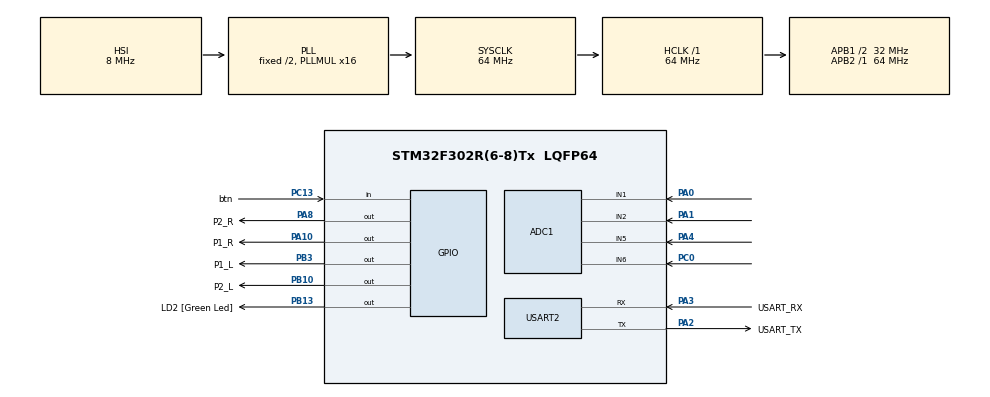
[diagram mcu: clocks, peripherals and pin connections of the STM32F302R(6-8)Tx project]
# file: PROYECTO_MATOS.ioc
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ADC1.Channel-0\#ChannelRegularConversion=ADC_CHANNEL_1
ADC1.Channel-1\#ChannelRegularConversion=ADC_CHANNEL_2
ADC1.Channel-2\#ChannelRegularConversion=ADC_CHANNEL_5
ADC1.Channel-3\#ChannelRegularConversion=ADC_CHANNEL_6
ADC1.ContinuousConvMode=ENABLE
ADC1.DMAContinuousRequests=ENABLE
ADC1.NbrOfConversion=4
ADC1.NbrOfConversionFlag=1
ADC1.Offset-0\#ChannelRegularConversion=0
ADC1.Offset-1\#ChannelRegularConversion=0
ADC1.Offset-2\#ChannelRegularConversion=0
ADC1.Offset-3\#ChannelRegularConversion=0
ADC1.OffsetNumber-0\#ChannelRegularConversion=ADC_OFFSET_NONE
ADC1.OffsetNumber-1\#ChannelRegularConversion=ADC_OFFSET_NONE
ADC1.OffsetNumber-2\#ChannelRegularConversion=ADC_OFFSET_NONE
ADC1.OffsetNumber-3\#ChannelRegularConversion=ADC_OFFSET_NONE
ADC1.Rank-0\#ChannelRegularConversion=1
ADC1.Rank-1\#ChannelRegularConversion=2
ADC1.Rank-2\#ChannelRegularConversion=3
ADC1.Rank-3\#ChannelRegularConversion=4
ADC1.SamplingTime-0\#ChannelRegularConversion=ADC_SAMPLETIME_601CYCLES_5
ADC1.SamplingTime-1\#ChannelRegularConversion=ADC_SAMPLETIME_601CYCLES_5
ADC1.SamplingTime-2\#ChannelRegularConversion=ADC_SAMPLETIME_601CYCLES_5
ADC1.SamplingTime-3\#ChannelRegularConversion=ADC_SAMPLETIME_601CYCLES_5
ADC1.SubFamily=STM32F302x8
ADC1.master=1
Dma.ADC1.0.Direction=DMA_PERIPH_TO_MEMORY
Dma.ADC1.0.Instance=DMA1_Channel1
Dma.ADC1.0.MemDataAlignment=DMA_MDATAALIGN_WORD
Dma.ADC1.0.MemInc=DMA_MINC_ENABLE
Dma.ADC1.0.Mode=DMA_CIRCULAR
Dma.ADC1.0.PeriphDataAlignment=DMA_PDATAALIGN_WORD
Dma.ADC1.0.PeriphInc=DMA_PINC_DISABLE
Dma.ADC1.0.Priority=DMA_PRIORITY_LOW
Dma.Request0=ADC1
Mcu.Family=STM32F3
Mcu.Name=STM32F302R(6-8)Tx
Mcu.Package=LQFP64
NVIC.DMA1_Channel1_IRQn=true\:0\:0\:false\:false\:true\:false\:true\:true
NVIC.PriorityGroup=NVIC_PRIORITYGROUP_0
PA0.Mode=IN1-Single-Ended
PA0.Signal=ADC1_IN1
PA1.Mode=IN2-Single-Ended
PA1.Signal=ADC1_IN2
PA10.GPIO_Label=P1_R
PA10.Signal=GPIO_Output
PA13.GPIO_Label=TMS
PA13.Mode=Serial_Wire
PA13.Signal=SYS_JTMS-SWDIO
PA14.GPIO_Label=TCK
PA14.Mode=Serial_Wire
PA14.Signal=SYS_JTCK-SWCLK
PA2.GPIO_Label=USART_TX
PA2.GPIO_Mode=GPIO_MODE_AF_PP
PA2.GPIO_PuPd=GPIO_NOPULL
PA2.GPIO_Speed=GPIO_SPEED_FREQ_LOW
PA2.Mode=Asynchronous
PA2.Signal=USART2_TX
PA3.GPIO_Label=USART_RX
PA3.GPIO_Mode=GPIO_MODE_AF_PP
PA3.GPIO_PuPd=GPIO_NOPULL
PA3.GPIO_Speed=GPIO_SPEED_FREQ_LOW
PA3.Mode=Asynchronous
PA3.Signal=USART2_RX
PA4.Mode=IN5-Single-Ended
PA4.Signal=ADC1_IN5
PA8.GPIO_Label=P2_R
PA8.Signal=GPIO_Output
PB10.GPIO_Label=P2_L
PB10.Signal=GPIO_Output
PB13.GPIO_Label=LD2 [Green Led]
PB13.Signal=GPIO_Output
PB3.GPIO_Label=P1_L
PB3.Signal=GPIO_Output
PC0.Signal=ADCx_IN6
PC13.GPIO_Label=btn
PC13.Signal=GPIO_Input
PC14\ -\ OSC32_IN.Mode=LSE-External-Oscillator
PC14\ -\ OSC32_IN.Signal=RCC_OSC32_IN
PC15\ -\ OSC32_OUT.Mode=LSE-External-Oscillator
PC15\ -\ OSC32_OUT.Signal=RCC_OSC32_OUT
PF0-OSC_IN.Mode=HSE-External-Clock-Source
PF0-OSC_IN.Signal=RCC_OSC_IN
PF1-OSC_OUT.Signal=RCC_OSC_OUT
ProjectManager.HeapSize=0x200
ProjectManager.StackSize=0x400
ProjectManager.TargetToolchain=STM32CubeIDE
RCC.AHBFreq_Value=64000000
RCC.APB1CLKDivider=RCC_HCLK_DIV2
RCC.APB1Freq_Value=32000000
RCC.APB1TimFreq_Value=64000000
RCC.APB2Freq_Value=64000000
RCC.APB2TimFreq_Value=64000000
RCC.CortexFreq_Value=64000000
RCC.HCLKFreq_Value=64000000
RCC.HSE_VALUE=8000000
RCC.HSI_VALUE=8000000
RCC.PLLM=8
RCC.PLLMUL=RCC_PLL_MUL16
RCC.PLLN=336
RCC.PLLP=RCC_PLLP_DIV4
RCC.PLLQ=7
RCC.RCC_PLLsource_Clock_Source_FROM_HSE=RCC_HSE_PREDIV_DIV2
RCC.SYSCLKFreq_VALUE=64000000
RCC.SYSCLKSourceVirtual=RCC_SYSCLKSOURCE_PLLCLK
RCC.USBFreq_Value=64000000
SH.ADCx_IN6.0=ADC1_IN6,IN6-Single-Ended
USART2.VirtualMode-Asynchronous=VM_ASYNC
board=NUCLEO-F302R8

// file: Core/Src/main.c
/* USER CODE BEGIN Header */
/**
  ******************************************************************************
  * @file           : main.c
  * @brief          : Main program body
  ******************************************************************************
  * @attention
  *
  * Copyright (c) 2024 STMicroelectronics.
  * All rights reserved.
  *
  * This software is licensed under terms that can be found in the LICENSE file
  * in the root directory of this software component.
  * If no LICENSE file comes with this software, it is provided AS-IS.
  *
  ******************************************************************************
  */
/* USER CODE END Header */
#include "main.h"

/* USER CODE BEGIN PD */
#define voltaje 5
/* USER CODE END PD */

ADC_HandleTypeDef hadc1;
DMA_HandleTypeDef hdma_adc1;

UART_HandleTypeDef huart2;

void SystemClock_Config(void);
static void MX_GPIO_Init(void);
static void MX_DMA_Init(void);
static void MX_USART2_UART_Init(void);
static void MX_ADC1_Init(void);

/* USER CODE BEGIN 0 */
// VARIABLES DEL SISTEMA
uint32_t medida[4];
int count =0;
float Volt =0.00;
float Volt2=0.00;
float Volt3=0.00;
float Volt4=0.00;
int arriba =0;

//MEDICION DE VOLTAJES LDR O DIVISORES

void medicion_movimiento_sistema(){
	Volt =(medida[0]/4096.0)*voltaje;
	Volt2 =(medida[1]/4096.0)*voltaje;
	Volt3 =(medida[2]/4096.0)*voltaje;
	Volt4 =(medida[3]/4096.0)*voltaje;

	if (Volt >= 1.0 && Volt <= 3.0 ){
		X_derecha();
		arriba=1;
	}
	else if(Volt2>=1.0 && Volt2<=3.0){
		X1_izquierda();
		arriba=2;
	}
	else if(Volt3>=1.0 && Volt3<=3.0){
			Y_derecha();
			arriba=3;
		}
	else if(Volt4>=1.0 && Volt4<=3.0){
				Y1_izquierda();
				arriba=4;
			}
	else{
		arriba=0;
		stop();
	}
}
//SETEO INICIAL DEL SISTEMA
void seteo_sistem(){
	    X_derecha();
		HAL_Delay(30000);
		stop();
		X1_izquierda();
		HAL_Delay(9000);
		stop();

		Y_derecha();
		HAL_Delay(30000);
		stop();
		Y1_izquierda();
		HAL_Delay(9000);
		stop();
}
// FUNCION PARA EL MOV EJE X
void X_derecha(){
	HAL_GPIO_WritePin(P1_R_GPIO_Port, P1_R_Pin, 1);
}
void X1_izquierda(){
	HAL_GPIO_WritePin(P1_L_GPIO_Port, P1_L_Pin, 1);
}
//FUNCION MOV EJE Y
void Y_derecha()
{
	HAL_GPIO_WritePin(P2_R_GPIO_Port, P2_R_Pin, 1);
}
void Y1_izquierda()
{
	HAL_GPIO_WritePin(P2_L_GPIO_Port, P2_L_Pin, 1);
}
//FUNCION DE PARADA DE LOS EJES
void stop(){
	HAL_GPIO_WritePin(P1_R_GPIO_Port, P1_R_Pin, 0);
	HAL_GPIO_WritePin(P1_L_GPIO_Port, P1_L_Pin, 0);
	HAL_GPIO_WritePin(P2_R_GPIO_Port, P2_R_Pin, 0);
	HAL_GPIO_WritePin(P2_L_GPIO_Port, P2_L_Pin, 0);
}

//FUNCION GENERAL PARA PRUEBAS
void mov(){

	  if(!HAL_GPIO_ReadPin(btn_GPIO_Port, btn_Pin)){
		  count++;
		  HAL_Delay(600);
	  }

	  if(count>=5){
		  count=0;
	  }

	  if (count == 1){
		  X_derecha();

	  }
	  else if(count == 2){
		  Y_derecha();

	  }else if(count == 3){
		  X1_izquierda();
	  }
	  else if(count ==4){
		  Y1_izquierda();
	  }
	  else if(count ==5){
		  stop();
	  }
}

/* USER CODE END 0 */

int main(void)
{

  /* MCU Configuration--------------------------------------------------------*/

  /* Reset of all peripherals, Initializes the Flash interface and the Systick. */
  HAL_Init();

  /* Configure the system clock */
  SystemClock_Config();

  /* Initialize all configured peripherals */
  MX_GPIO_Init();
  MX_DMA_Init();
  MX_USART2_UART_Init();
  MX_ADC1_Init();
  /* USER CODE BEGIN 2 */

	HAL_ADC_Start_DMA(&hadc1, &medida, 4);
//	seteo_sistem();

  /* USER CODE END 2 */

  /* Infinite loop */
  /* USER CODE BEGIN WHILE */
  while (1)
  {
	  medicion_movimiento_sistema();
//	  mov();
    /* USER CODE END WHILE */

  }
}

void SystemClock_Config(void)
{
  RCC_OscInitTypeDef RCC_OscInitStruct = {0};
  RCC_ClkInitTypeDef RCC_ClkInitStruct = {0};
  RCC_PeriphCLKInitTypeDef PeriphClkInit = {0};

  /** Initializes the RCC Oscillators according to the specified parameters
  * in the RCC_OscInitTypeDef structure.
  */
  RCC_OscInitStruct.OscillatorType = RCC_OSCILLATORTYPE_HSI;
  RCC_OscInitStruct.HSIState = RCC_HSI_ON;
  RCC_OscInitStruct.HSICalibrationValue = RCC_HSICALIBRATION_DEFAULT;
  RCC_OscInitStruct.PLL.PLLState = RCC_PLL_ON;
  RCC_OscInitStruct.PLL.PLLSource = RCC_PLLSOURCE_HSI;
  RCC_OscInitStruct.PLL.PLLMUL = RCC_PLL_MUL16;
  if (HAL_RCC_OscConfig(&RCC_OscInitStruct) != HAL_OK)
  {
    Error_Handler();
  }

  /** Initializes the CPU, AHB and APB buses clocks
  */
  RCC_ClkInitStruct.ClockType = RCC_CLOCKTYPE_HCLK|RCC_CLOCKTYPE_SYSCLK
                              |RCC_CLOCKTYPE_PCLK1|RCC_CLOCKTYPE_PCLK2;
  RCC_ClkInitStruct.SYSCLKSource = RCC_SYSCLKSOURCE_PLLCLK;
  RCC_ClkInitStruct.AHBCLKDivider = RCC_SYSCLK_DIV1;
  RCC_ClkInitStruct.APB1CLKDivider = RCC_HCLK_DIV2;
  RCC_ClkInitStruct.APB2CLKDivider = RCC_HCLK_DIV1;

  if (HAL_RCC_ClockConfig(&RCC_ClkInitStruct, FLASH_LATENCY_2) != HAL_OK)
  {
    Error_Handler();
  }
  PeriphClkInit.PeriphClockSelection = RCC_PERIPHCLK_ADC1;
  PeriphClkInit.Adc1ClockSelection = RCC_ADC1PLLCLK_DIV1;

  if (HAL_RCCEx_PeriphCLKConfig(&PeriphClkInit) != HAL_OK)
  {
    Error_Handler();
  }
}

static void MX_ADC1_Init(void)
{

  ADC_ChannelConfTypeDef sConfig = {0};

  /** Common config
  */
  hadc1.Instance = ADC1;
  hadc1.Init.ClockPrescaler = ADC_CLOCK_ASYNC_DIV1;
  hadc1.Init.Resolution = ADC_RESOLUTION_12B;
  hadc1.Init.ScanConvMode = ADC_SCAN_ENABLE;
  hadc1.Init.ContinuousConvMode = ENABLE;
  hadc1.Init.DiscontinuousConvMode = DISABLE;
  hadc1.Init.ExternalTrigConvEdge = ADC_EXTERNALTRIGCONVEDGE_NONE;
  hadc1.Init.ExternalTrigConv = ADC_SOFTWARE_START;
  hadc1.Init.DataAlign = ADC_DATAALIGN_RIGHT;
  hadc1.Init.NbrOfConversion = 4;
  hadc1.Init.DMAContinuousRequests = ENABLE;
  hadc1.Init.EOCSelection = ADC_EOC_SINGLE_CONV;
  hadc1.Init.LowPowerAutoWait = DISABLE;
  hadc1.Init.Overrun = ADC_OVR_DATA_OVERWRITTEN;
  if (HAL_ADC_Init(&hadc1) != HAL_OK)
  {
    Error_Handler();
  }

  /** Configure Regular Channel
  */
  sConfig.Channel = ADC_CHANNEL_1;
  sConfig.Rank = ADC_REGULAR_RANK_1;
  sConfig.SingleDiff = ADC_SINGLE_ENDED;
  sConfig.SamplingTime = ADC_SAMPLETIME_601CYCLES_5;
  sConfig.OffsetNumber = ADC_OFFSET_NONE;
  sConfig.Offset = 0;
  if (HAL_ADC_ConfigChannel(&hadc1, &sConfig) != HAL_OK)
  {
    Error_Handler();
  }

  /** Configure Regular Channel
  */
  sConfig.Channel = ADC_CHANNEL_2;
  sConfig.Rank = ADC_REGULAR_RANK_2;
  if (HAL_ADC_ConfigChannel(&hadc1, &sConfig) != HAL_OK)
  {
    Error_Handler();
  }

  /** Configure Regular Channel
  */
  sConfig.Channel = ADC_CHANNEL_5;
  sConfig.Rank = ADC_REGULAR_RANK_3;
  if (HAL_ADC_ConfigChannel(&hadc1, &sConfig) != HAL_OK)
  {
    Error_Handler();
  }

  /** Configure Regular Channel
  */
  sConfig.Channel = ADC_CHANNEL_6;
  sConfig.Rank = ADC_REGULAR_RANK_4;
  if (HAL_ADC_ConfigChannel(&hadc1, &sConfig) != HAL_OK)
  {
    Error_Handler();
  }

}

static void MX_USART2_UART_Init(void)
{

  huart2.Instance = USART2;
  huart2.Init.BaudRate = 38400;
  huart2.Init.WordLength = UART_WORDLENGTH_8B;
  huart2.Init.StopBits = UART_STOPBITS_1;
  huart2.Init.Parity = UART_PARITY_NONE;
  huart2.Init.Mode = UART_MODE_TX_RX;
  huart2.Init.HwFlowCtl = UART_HWCONTROL_NONE;
  huart2.Init.OverSampling = UART_OVERSAMPLING_16;
  huart2.Init.OneBitSampling = UART_ONE_BIT_SAMPLE_DISABLE;
  huart2.AdvancedInit.AdvFeatureInit = UART_ADVFEATURE_NO_INIT;
  if (HAL_UART_Init(&huart2) != HAL_OK)
  {
    Error_Handler();
  }

}

static void MX_DMA_Init(void)
{

  /* DMA controller clock enable */
  __HAL_RCC_DMA1_CLK_ENABLE();

  /* DMA interrupt init */
  /* DMA1_Channel1_IRQn interrupt configuration */
  HAL_NVIC_SetPriority(DMA1_Channel1_IRQn, 0, 0);
  HAL_NVIC_EnableIRQ(DMA1_Channel1_IRQn);

}

static void MX_GPIO_Init(void)
{
  GPIO_InitTypeDef GPIO_InitStruct = {0};

  /* GPIO Ports Clock Enable */
  __HAL_RCC_GPIOC_CLK_ENABLE();
  __HAL_RCC_GPIOF_CLK_ENABLE();
  __HAL_RCC_GPIOA_CLK_ENABLE();
  __HAL_RCC_GPIOB_CLK_ENABLE();

  /*Configure GPIO pin Output Level */
  HAL_GPIO_WritePin(GPIOB, P2_L_Pin|LD2_Pin|P1_L_Pin, GPIO_PIN_RESET);

  /*Configure GPIO pin Output Level */
  HAL_GPIO_WritePin(GPIOA, P2_R_Pin|P1_R_Pin, GPIO_PIN_RESET);

  /*Configure GPIO pin : btn_Pin */
  GPIO_InitStruct.Pin = btn_Pin;
  GPIO_InitStruct.Mode = GPIO_MODE_INPUT;
  GPIO_InitStruct.Pull = GPIO_NOPULL;
  HAL_GPIO_Init(btn_GPIO_Port, &GPIO_InitStruct);

  /*Configure GPIO pins : P2_L_Pin LD2_Pin P1_L_Pin */
  GPIO_InitStruct.Pin = P2_L_Pin|LD2_Pin|P1_L_Pin;
  GPIO_InitStruct.Mode = GPIO_MODE_OUTPUT_PP;
  GPIO_InitStruct.Pull = GPIO_NOPULL;
  GPIO_InitStruct.Speed = GPIO_SPEED_FREQ_LOW;
  HAL_GPIO_Init(GPIOB, &GPIO_InitStruct);

  /*Configure GPIO pins : P2_R_Pin P1_R_Pin */
  GPIO_InitStruct.Pin = P2_R_Pin|P1_R_Pin;
  GPIO_InitStruct.Mode = GPIO_MODE_OUTPUT_PP;
  GPIO_InitStruct.Pull = GPIO_NOPULL;
  GPIO_InitStruct.Speed = GPIO_SPEED_FREQ_LOW;
  HAL_GPIO_Init(GPIOA, &GPIO_InitStruct);

}

void Error_Handler(void)
{
  __disable_irq();
  while (1)
  {
  }
}
